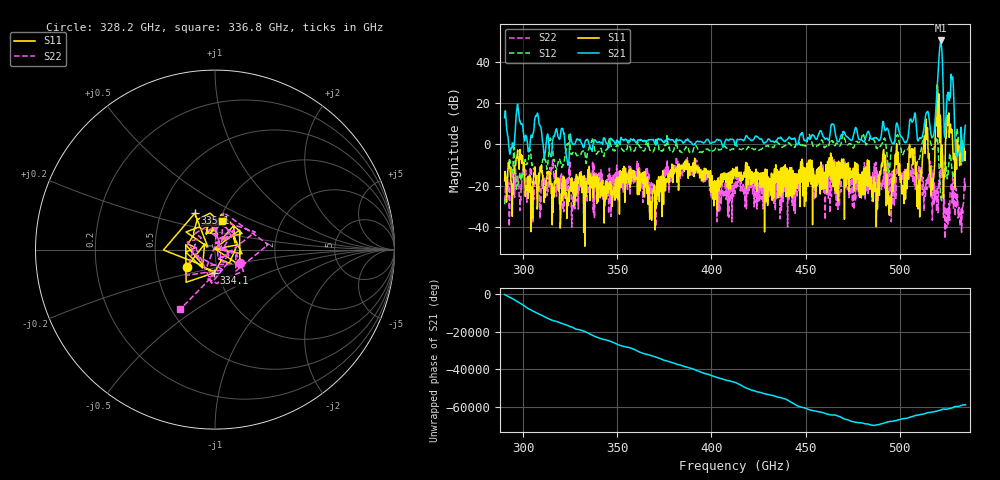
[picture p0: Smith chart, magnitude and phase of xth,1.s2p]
!Created with skrf (http://scikit-rf.org).
# GHz S RI R 50.0
!freq ReS11 ImS11 ReS21 ImS21 ReS12 ImS12 ReS22 ImS22
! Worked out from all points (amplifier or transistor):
!   1201 points, 290 GHz to 535 GHz, reference 50 ohm
!   highest |S21| = 50.7 dB at 521.9 GHz (marker M1)
!   |S21| within 3 dB of that: 521.4462 GHz to 522.289 GHz (842.8 MHz wide, 0.161 % of centre)
!   unconditionally stable (mu >= 1): 306.2 GHz to 314.1 GHz; 315.8 GHz to 324.3 GHz; 325.2 GHz to 334.1 GHz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
!   at 330.8 GHz: K = 1.06, MAG = 0.9 dB, |S12| = -4.1 dB
!   at 412.5 GHz: K = 0.98, MSG = 0.3 dB, |S12| = -0.7 dB
!   at 535 GHz: K = 1.21, MSG = 6.3 dB, |S12| = -3.4 dB
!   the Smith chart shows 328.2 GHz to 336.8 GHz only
!   S11 on the Smith chart (normalised r, x): 328.2 GHz: 0.71, -0.15; 334.1 GHz: 0.96, -0.25; 335.1 GHz: 0.74, +0.32; 336.8 GHz: 1.02, +0.33
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290  0.0379 0.1249  2.655 -3.646  -0.0226 0.0264  -0.0219 -0.0359
328.1792  -0.1583 -0.0987  -1.085 0.6796  -0.2443 -0.4947  0.1405 -0.0729
331.0375  0.0356 0.0566  -0.4811 -0.9404  0.3352 0.5548  -0.0866 -0.0586
334.1  -0.00512 -0.1291  1.224 0.5386  -0.1949 0.6029  -0.0257 0.1809
335.1208  -0.1125 0.2025  -0.4236 -0.8646  0.587 0.6508  0.1163 -0.1191
336.7542  0.0371 0.158  0.298 0.791  0.3825 1.408  -0.1933 -0.3326
371.6667  0.0237 0.1265  -0.9775 -0.9706  -0.8694 -0.4989  0.0402 -0.0621
412.5  0.1111 -0.133  -0.739 -0.6491  -0.5204 -0.7654  0.00258 0.0643
453.5375  0.0885 -0.2503  1.559 0.7505  -0.8141 -0.6532  -0.2077 0.1032
494.1667  -0.0552 0.00663  -1.93 -0.6642  -0.00376 -0.2381  -0.3323 0.0229
519.4833  -1.488 -2.416  -8.93 -4.261  -0.9259 -0.9291  -0.039 0.0471
520.0958  26.68 11.28  12.06 26.52  -0.4807 -1.199  -0.0496 0.0805
520.5042  -0.4354 -1.462  -54.85 -26.28  0.6869 0.396  -0.013 0.0176
520.7083  -12.47 8.97  -24.26 -78.79  0.2053 -0.4846  -0.056 0.0768
520.9125  -6.36 15.83  47.3 -108  -0.3269 -0.1187  0.0228 0.1331
521.525  -5.106 1.226  -60.6 258.6  -0.0901 -0.04  0.0347 0.2138
521.9333  1.759 1.734  132.1 -315  -0.0239 -0.0459  0.1044 0.1151
522.75  0.6905 0.0518  -48.29 -102.1  0.0481 0.0294  -0.0649 0.1517
523.1583  -0.0376 -0.1168  23.36 -13.03  -0.0865 0.0311  -0.0348 0.1644
523.5667  0.00506 -0.1346  3.906 -0.3504  0.1027 -0.1237  -0.058 -0.0175
524.1792  0.00222 -0.2031  -0.6765 -1.651  0.0222 0.3535  0.00398 -0.00322
535  -0.4711 -0.4702  -2.774 0.9085  -0.1329 0.6644  -0.0727 -0.0994
